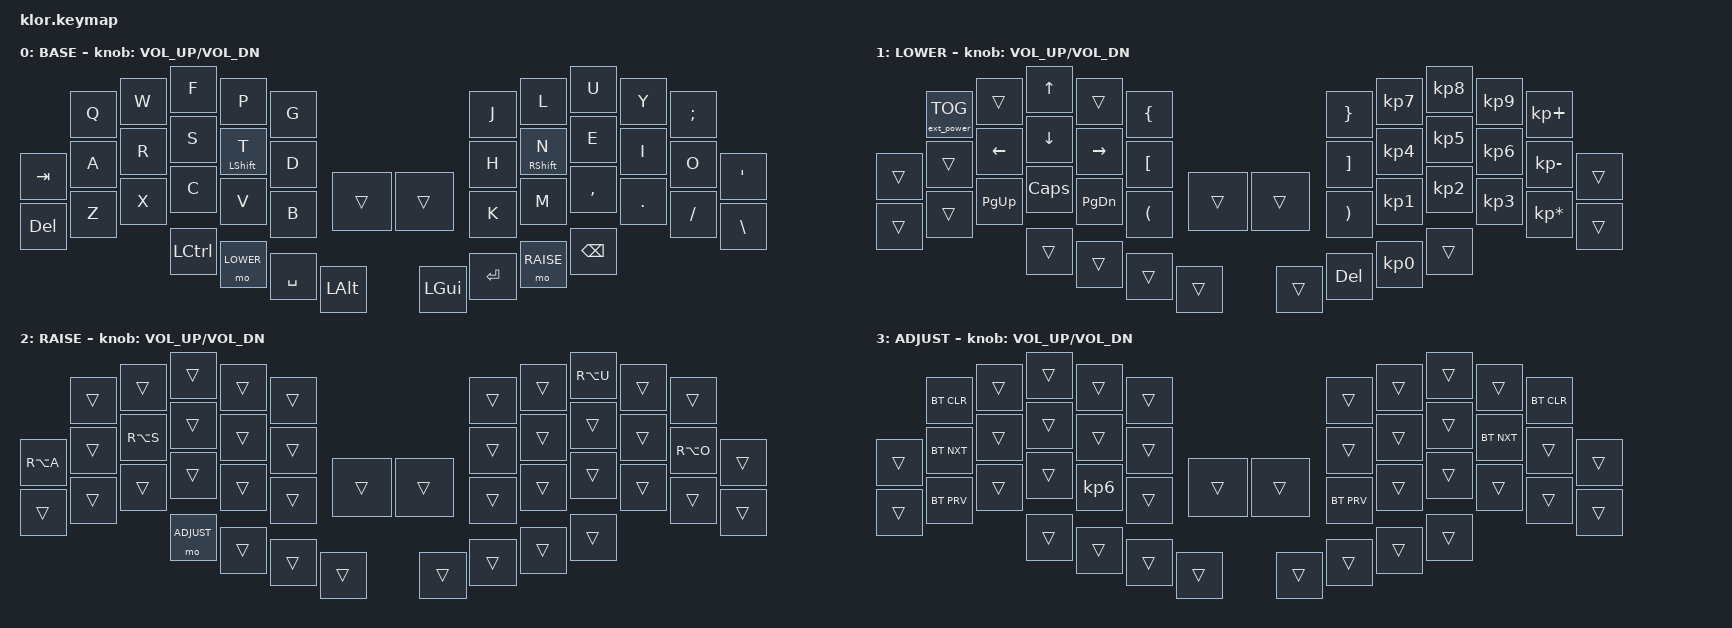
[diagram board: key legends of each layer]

//                               █         █    █            ▄▄▄▀▀▀▀▀▀▄▄▄        █▀▀▀▀▀▀▀▀▀▀█
//                               █        █     █          ▄▀            ▀▄      █          █
//                               █       █      █        ▄▀                ▀▄    █          █
//                               █      █       █        █                  █    █          █
//                               █     █        █       █                    █   █          █
//                               █    █         █       █                    █   █▄▄▄▄▄▄▄▄▄▄█
//                               █   █ █        █       █                    █   █      █
//                               █  █   █       █        █                  █    █       █
//                               █ █     █      █        ▀▄                ▄▀    █        █
//                               ██       █     █          ▀▄            ▄▀      █         █
//                               █         █    █▄▄▄▄▄▄▄▄    ▀▀▀▄▄▄▄▄▄▀▀▀        █          █
//
// ▄▄▄▄▄▄▄▄▄▄▄▄▄▄▄▄▄▄▄▄▄▄▄▄▄▄▄▄▄▄▄▄▄▄▄▄▄▄▄▄▄▄▄▄▄▄▄▄▄▄▄▄▄▄▄▄▄▄▄▄▄▄▄▄▄▄▄▄▄▄▄▄▄▄▄▄▄▄▄▄▄▄▄▄▄▄▄▄▄▄▄▄▄▄▄▄▄▄▄▄▄▄▄▄▄▄▄▄▄▄▄▄▄▄▄▄▄▄▄▄▄▄▄▄▄
       
#include <behaviors.dtsi>
#include <dt-bindings/zmk/keys.h>
#include <dt-bindings/zmk/bt.h>
#include <dt-bindings/zmk/outputs.h>
#include <dt-bindings/zmk/ext_power.h>

#define BASE   0
#define LOWER  1
#define RAISE  2
#define ADJUST 3


/ {
    behaviors {
        hm: homerow_mods {
            compatible = "zmk,behavior-hold-tap";
            label = "HOMEROW_MODS";
            #binding-cells = <2>;
            tapping-term-ms = <150>;
            quick_tap_ms = <0>;
            flavor = "tap-preferred";
            bindings = <&kp>, <&kp>;
        };
    };

     combos {
            compatible = "zmk,combos";
            combo_esc {
                timeout-ms = <50>;
                key-positions = <0 1>;
                bindings = <&kp ESC>;
            };
    };

    physical_layout: physical_layout {
        compatible = "zmk,physical-layout";
        display-name = "Klor 42";
        
        keys  //                     w   h    x    y     rot    rx   ry
            = <&key_physical_attrs 100 100    0    0       0     0    0>
            , <&key_physical_attrs 100 100  100    0       0     0    0>
            , <&key_physical_attrs 100 100  200    0       0     0    0>
            , <&key_physical_attrs 100 100  300    0       0     0    0>
            , <&key_physical_attrs 100 100  400    0       0     0    0>
            
            , <&key_physical_attrs 100 100    0  100       0     0    0>
            , <&key_physical_attrs 100 100  100  100       0     0    0>
            , <&key_physical_attrs 100 100  200  100       0     0    0>
            , <&key_physical_attrs 100 100  300  100       0     0    0>
            , <&key_physical_attrs 100 100  400  100       0     0    0>
            , <&key_physical_attrs 100 100  500  100       0     0    0>
            
            , <&key_physical_attrs 100 100    0  200       0     0    0>
            , <&key_physical_attrs 100 100  100  200       0     0    0>
            , <&key_physical_attrs 100 100  200  200       0     0    0>
            , <&key_physical_attrs 100 100  300  200       0     0    0>
            , <&key_physical_attrs 100 100  400  200       0     0    0>
            , <&key_physical_attrs 100 100  500  200       0     0    0>
            
            , <&key_physical_attrs 100 100  200  300       0     0    0>
            , <&key_physical_attrs 100 100  300  300       0     0    0>
            , <&key_physical_attrs 100 100  400  300       0     0    0>
            , <&key_physical_attrs 100 100  500  300       0     0    0>
            
            // Right side - mirrored
            , <&key_physical_attrs 100 100  700    0       0     0    0>
            , <&key_physical_attrs 100 100  800    0       0     0    0>
            , <&key_physical_attrs 100 100  900    0       0     0    0>
            , <&key_physical_attrs 100 100 1000    0       0     0    0>
            , <&key_physical_attrs 100 100 1100    0       0     0    0>
            
            , <&key_physical_attrs 100 100  600  100       0     0    0>
            , <&key_physical_attrs 100 100  700  100       0     0    0>
            , <&key_physical_attrs 100 100  800  100       0     0    0>
            , <&key_physical_attrs 100 100  900  100       0     0    0>
            , <&key_physical_attrs 100 100 1000  100       0     0    0>
            , <&key_physical_attrs 100 100 1100  100       0     0    0>
            
            , <&key_physical_attrs 100 100  600  200       0     0    0>
            , <&key_physical_attrs 100 100  700  200       0     0    0>
            , <&key_physical_attrs 100 100  800  200       0     0    0>
            , <&key_physical_attrs 100 100  900  200       0     0    0>
            , <&key_physical_attrs 100 100 1000  200       0     0    0>
            , <&key_physical_attrs 100 100 1100  200       0     0    0>
            
            , <&key_physical_attrs 100 100  600  300       0     0    0>
            , <&key_physical_attrs 100 100  700  300       0     0    0>
            , <&key_physical_attrs 100 100  800  300       0     0    0>
            , <&key_physical_attrs 100 100  900  300       0     0    0>
            ;
    };


    keymap {
                compatible = "zmk,keymap";
// ▄▄▄▄▄▄▄▄▄▄▄▄▄▄▄▄▄▄▄▄▄▄▄▄▄▄▄▄▄▄▄▄▄▄▄▄▄▄▄▄▄▄▄▄▄▄▄▄▄▄▄▄▄▄▄▄▄▄▄▄▄▄▄▄▄▄▄▄▄▄▄▄▄▄▄▄▄▄▄▄▄▄▄▄▄▄▄▄▄▄▄▄▄▄▄▄▄▄▄▄▄▄▄▄▄▄▄▄▄▄▄▄▄▄▄▄▄▄▄▄▄▄▄▄▄▄▄▄▄▄▄▄▄▄▄▄▄▄▄▄▄▄


                base_layer {
// ┌───────────────────────────────────────────────────────────┐
label= "BASE"                                                  ;
// └───────────────────────────────────────────────────────────┘
/*           ┌─────────┬─────────┬─────────┬─────────┬─────────┐                    ┌─────────┬─────────┬─────────┬─────────┬─────────┐
             │    Q    │    W    │    F    │    P    │    G    │                    │    J    │    L    │    U    │    Y    │    ;    │   
   ┌─────────┼─────────┼─────────┼─────────┼─────────┼─────────┤                    ├─────────┼─────────┼─────────┼─────────┼─────────┼─────────┐
   │   TAB   │    A    │    R    │    S    │    T    │    D    │                    │    H    │    N    │    E    │    I    │    O    │    "    │
   ├─────────┼─────────┼─────────┼─────────┼─────────┼─────────┤╭────────╮╭────────╮├─────────┼─────────┼─────────┼─────────┼─────────┼─────────┤
   │   DEL   │    Z    │    X    │    C    │    V    │    B    ││  MUTE  ││PLY/PSE ││    K    │    M    │    ,    │    .    │    /    │    \    │
   └─────────┴─────────┴─────────┼─────────┼─────────┼─────────┼╰────────╯╰────────╯┼─────────┼─────────┼─────────┼─────────┴─────────┴─────────┘
                                 │  CTRL   │  LOWER  │  SPACE  │   ALT   ││ CMD/WIN │  ENTER  │  RAISE  │  BSPCE  │  
                                 └─────────┴─────────┴─────────┴─────────┘└─────────┴─────────┴─────────┴─────────┘ */ 
 bindings = <
 //╷         ╷         ╷         ╷         ╷         ╷         ╷         ╷╷         ╷         ╷         ╷         ╷         ╷         ╷         ╷
              &kp Q     &kp W     &kp F     &kp P     &kp G                          &kp J     &kp L     &kp U     &kp Y     &kp SEMI
    &kp TAB   &kp A     &kp R     &kp S   &hm LSHFT T &kp D                          &kp H   &hm RSHFT N &kp E     &kp I     &kp O     &kp SQT
    &kp DEL   &kp Z     &kp X     &kp C     &kp V     &kp B     &trans     &trans    &kp K     &kp M     &kp COMMA &kp DOT   &kp FSLH  &kp BSLH
                                  &kp LCTRL &mo LOWER &kp SPACE &kp LALT   &kp LGUI  &kp RET   &mo RAISE &kp BSPC    
                        >;
            sensor-bindings = <&inc_dec_kp C_VOL_UP C_VOL_DN>;
                };

// ▄▄▄▄▄▄▄▄▄▄▄▄▄▄▄▄▄▄▄▄▄▄▄▄▄▄▄▄▄▄▄▄▄▄▄▄▄▄▄▄▄▄▄▄▄▄▄▄▄▄▄▄▄▄▄▄▄▄▄▄▄▄▄▄▄▄▄▄▄▄▄▄▄▄▄▄▄▄▄▄▄▄▄▄▄▄▄▄▄▄▄▄▄▄▄▄▄▄▄▄▄▄▄▄▄▄▄▄▄▄▄▄▄▄▄▄▄▄▄▄▄▄▄▄▄▄▄▄▄▄▄▄▄▄▄▄▄▄▄▄▄▄


                lower_layer {
// ┌───────────────────────────────────────────────────────────┐
label= "LOWER"                                                 ;
// └───────────────────────────────────────────────────────────┘
/*           ┌─────────┬─────────┬─────────┬─────────┬─────────┐                    ┌─────────┬─────────┬─────────┬─────────┬─────────┐
             │         │         │    UP   │         │    {    │                    │    }    │    7    │    8    │    9    │    +    │
   ┌─────────┼─────────┼─────────┼─────────┼─────────┼─────────┤                    ├─────────┼─────────┼─────────┼─────────┼─────────┼─────────┐
   │         │         │   LEFT  │  DOWN   │  RIGHT  │    [    │                    │    ]    │    4    │    5    │    6    │    -    │         │
   ├─────────┼─────────┼─────────┼─────────┼─────────┼─────────┤╭────────╮╭────────╮├─────────┼─────────┼─────────┼─────────┼─────────┼─────────┤
   │         │         │   P UP  │ C LOCK  │ P DOWN  │    (    ││        ││        ││    )    │    1    │    2    │    3    │    *    │         │
   └─────────┴─────────┴─────────┼─────────┼─────────┼─────────┼╰────────╯╰────────╯┼─────────┼─────────┼─────────┼─────────┴─────────┴─────────┘
                                 │         │         │         │         ││         │         │    0    │         │  
                                 └─────────┴─────────┴─────────┴─────────┘└─────────┴─────────┴─────────┴─────────┘ */ 
 bindings = <
 //╷         ╷         ╷         ╷         ╷         ╷         ╷         ╷╷         ╷         ╷         ╷         ╷         ╷         ╷         ╷
    &ext_power EP_TOG   &trans    &kp UP    &trans    &kp LBRC                       &kp RBRC  &kp KP_N7 &kp KP_N8 &kp KP_N9 &kp KP_PLUS
    &trans    &trans    &kp LEFT  &kp DOWN  &kp RIGHT &kp LBKT                       &kp RBKT  &kp KP_N4 &kp KP_N5 &kp KP_N6 &kp KP_MINUS &trans
    &trans    &trans    &kp PG_UP &kp CAPS  &kp PG_DN &kp LPAR  &trans     &trans    &kp RPAR  &kp KP_N1 &kp KP_N2 &kp KP_N3 &kp KP_MULTIPLY &trans
                                  &trans    &trans    &trans    &trans     &trans    &kp DELETE &kp KP_N0 &trans  
                        >;
            sensor-bindings = <&inc_dec_kp C_VOL_UP C_VOL_DN>;
                };

// ▄▄▄▄▄▄▄▄▄▄▄▄▄▄▄▄▄▄▄▄▄▄▄▄▄▄▄▄▄▄▄▄▄▄▄▄▄▄▄▄▄▄▄▄▄▄▄▄▄▄▄▄▄▄▄▄▄▄▄▄▄▄▄▄▄▄▄▄▄▄▄▄▄▄▄▄▄▄▄▄▄▄▄▄▄▄▄▄▄▄▄▄▄▄▄▄▄▄▄▄▄▄▄▄▄▄▄▄▄▄▄▄▄▄▄▄▄▄▄▄▄▄▄▄▄


                raise_layer {
// ┌───────────────────────────────────────────────────────────┐
label= "RAISE"                                                 ;
// └───────────────────────────────────────────────────────────┘
/*           ┌─────────┬─────────┬─────────┬─────────┬─────────┐                    ┌─────────┬─────────┬─────────┬─────────┬─────────┐
             │         │         │         │         │         │                    │         │         │    Ü    │         │         │
   ┌─────────┼─────────┼─────────┼─────────┼─────────┼─────────┤                    ├─────────┼─────────┼─────────┼─────────┼─────────┼─────────┐
   │    Ä    │         │    ß    │         │         │         │                    │         │         │         │         │    Ö    │         │
   ├─────────┼─────────┼─────────┼─────────┼─────────┼─────────┤╭────────╮╭────────╮├─────────┼─────────┼─────────┼─────────┼─────────┼─────────┤
   │         │         │         │         │         │         ││        ││        ││         │         │         │         │         │         │
   └─────────┴─────────┴─────────┼─────────┼─────────┼─────────┼╰────────╯╰────────╯┼─────────┼─────────┼─────────┼─────────┴─────────┴─────────┘
                                 │ ADJUST  │         │         │         ││         │         │         │         │  
                                 └─────────┴─────────┴─────────┴─────────┘└─────────┴─────────┴─────────┴─────────┘ */ 
 bindings = <
 //╷         ╷         ╷         ╷         ╷         ╷         ╷         ╷╷         ╷         ╷         ╷         ╷         ╷         ╷         ╷
              &trans    &trans    &trans    &trans    &trans                         &trans    &trans    &kp RA(U) &trans    &trans     
    &kp RA(A) &trans    &kp RA(S) &trans    &trans    &trans                         &trans    &trans    &trans    &trans    &kp RA(O) &trans  
    &trans    &trans    &trans    &trans    &trans    &trans    &trans     &trans    &trans    &trans    &trans    &trans    &trans    &trans
                                  &mo ADJUST &trans   &trans    &trans     &trans    &trans    &trans    &trans  
                        >;
                sensor-bindings = <&inc_dec_kp C_VOL_UP C_VOL_DN>;
                };

// ▄▄▄▄▄▄▄▄▄▄▄▄▄▄▄▄▄▄▄▄▄▄▄▄▄▄▄▄▄▄▄▄▄▄▄▄▄▄▄▄▄▄▄▄▄▄▄▄▄▄▄▄▄▄▄▄▄▄▄▄▄▄▄▄▄▄▄▄▄▄▄▄▄▄▄▄▄▄▄▄▄▄▄▄▄▄▄▄▄▄▄▄▄▄▄▄▄▄▄▄▄▄▄▄▄▄▄▄▄▄▄▄▄▄▄▄▄▄▄▄▄▄▄▄▄


                adjust_layer {
// ┌───────────────────────────────────────────────────────────┐
label= "ADJUST"                                                ;
// └───────────────────────────────────────────────────────────┘
/*           ┌─────────┬─────────┬─────────┬─────────┬─────────┐                    ┌─────────┬─────────┬─────────┬─────────┬─────────┐
             │         │         │         │         │         │                    │         │         │         │         │         │
   ┌─────────┼─────────┼─────────┼─────────┼─────────┼─────────┤                    ├─────────┼─────────┼─────────┼─────────┼─────────┼─────────┐
   │         │         │         │         │         │         │                    │         │         │         │         │         │         │
   ├─────────┼─────────┼─────────┼─────────┼─────────┼─────────┤╭────────╮╭────────╮├─────────┼─────────┼─────────┼─────────┼─────────┼─────────┤
   │         │         │         │         │         │         ││        ││        ││         │         │         │         │         │         │
   └─────────┴─────────┴─────────┼─────────┼─────────┼─────────┼╰────────╯╰────────╯┼─────────┼─────────┼─────────┼─────────┴─────────┴─────────┘
                                 │         │         │         │         ││         │         │         │         │  
                                 └─────────┴─────────┴─────────┴─────────┘└─────────┴─────────┴─────────┴─────────┘ */ 
 bindings = <
 //╷         ╷         ╷         ╷         ╷         ╷         ╷         ╷╷         ╷         ╷         ╷         ╷         ╷         ╷         ╷
             &bt BT_CLR &trans    &trans    &trans    &trans                         &trans    &trans    &trans    &trans    &bt BT_CLR   
    &trans   &bt BT_NXT &trans    &trans    &trans    &trans                         &trans    &trans    &trans    &bt BT_NXT &trans   &trans 
    &trans   &bt BT_PRV &trans    &trans    &kp KP_N6 &trans    &trans     &trans    &bt BT_PRV &trans   &trans    &trans    &trans    &trans    
                                  &trans    &trans    &trans    &trans     &trans    &trans    &trans    &trans    
                        >;
            sensor-bindings = <&inc_dec_kp C_VOL_UP C_VOL_DN>;
                };
        };
};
